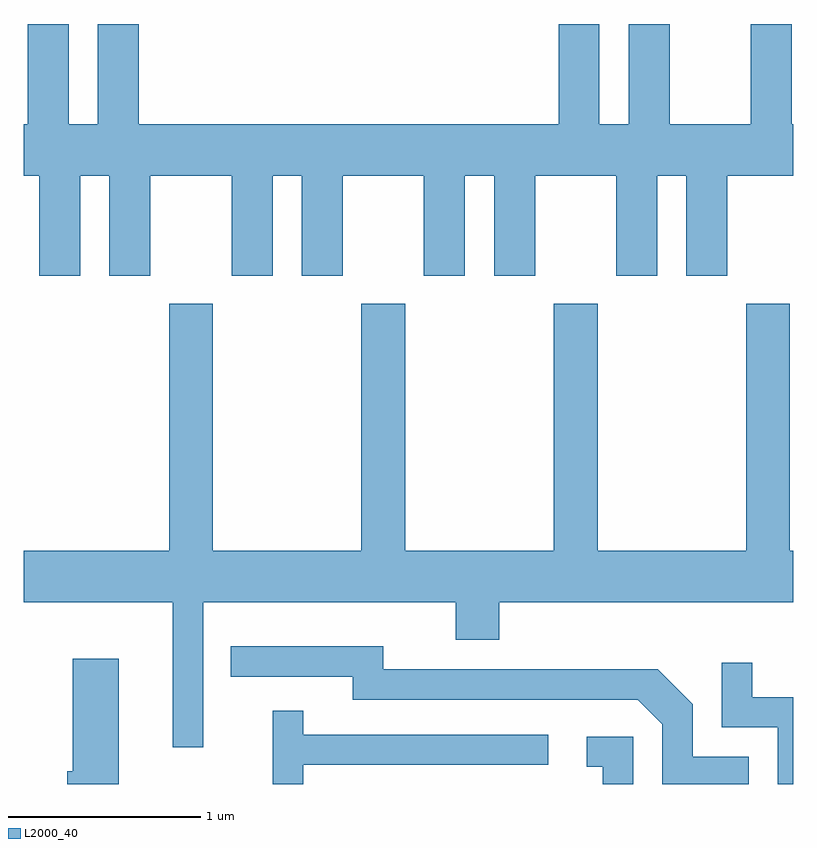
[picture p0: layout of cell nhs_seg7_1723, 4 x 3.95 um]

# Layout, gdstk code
import gdstk
lib = gdstk.Library(unit=1e-6, precision=1e-09)
def P(c, l, *ps):  # polygons
    for p in ps: c.add(gdstk.Polygon(p, *l))
L2000_40 = (2000, 40)

nhs_seg7_1723 = lib.new_cell('nhs_seg7_1723')
P(nhs_seg7_1723, L2000_40, [(237.904,1725.416),(238.056,1725.416),(238.056,1724.896),(238.269,1724.896),(238.269,1725.416),(238.691,1725.416),(238.691,1724.896),(238.904,1724.896),(238.904,1725.416),(239.056,1725.416),(239.056,1724.896),(239.269,1724.896),(239.269,1725.416),(239.691,1725.416),(239.691,1724.896),(239.904,1724.896),(239.904,1725.416),(240.056,1725.416),(240.056,1724.896),(240.269,1724.896),(240.269,1725.416),(240.691,1725.416),(240.691,1724.896),(240.904,1724.896),(240.904,1725.416),(241.056,1725.416),(241.056,1724.896),(241.269,1724.896),(241.269,1725.416),(241.611,1725.416),(241.611,1725.684),(241.604,1725.684),(241.604,1726.204),(241.391,1726.204),(241.391,1725.684),(240.969,1725.684),(240.969,1726.204),(240.756,1726.204),(240.756,1725.684),(240.604,1725.684),(240.604,1726.204),(240.391,1726.204),(240.391,1725.684),(238.209,1725.684),(238.209,1726.204),(237.996,1726.204),(237.996,1725.684),(237.844,1725.684),(237.844,1726.204),(237.631,1726.204),(237.631,1725.684),(237.611,1725.684),(237.611,1725.416),(237.691,1725.416),(237.691,1724.896),(237.904,1724.896)],
  [(238.544,1723.196),(239.856,1723.196),(239.856,1723.001),(240.084,1723.001),(240.084,1723.196),(241.611,1723.196),(241.611,1723.464),(241.594,1723.464),(241.594,1724.749),(241.366,1724.749),(241.366,1723.464),(240.594,1723.464),(240.594,1724.749),(240.366,1724.749),(240.366,1723.464),(239.594,1723.464),(239.594,1724.749),(239.366,1724.749),(239.366,1723.464),(238.594,1723.464),(238.594,1724.749),(238.366,1724.749),(238.366,1723.464),(237.611,1723.464),(237.611,1723.196),(238.386,1723.196),(238.386,1722.443),(238.544,1722.443)],
  [(241.379,1722.394),(241.089,1722.394),(241.089,1722.667),(240.907,1722.849),(239.479,1722.849),(239.479,1722.969),(238.688,1722.969),(238.688,1722.811),(239.321,1722.811),(239.321,1722.691),(240.804,1722.691),(240.931,1722.564),(240.931,1722.252),(241.379,1722.252)],
  [(238.104,1722.904),(237.866,1722.904),(237.866,1722.319),(237.836,1722.319),(237.836,1722.252),(238.104,1722.252)],
  [(241.611,1722.704),(241.399,1722.704),(241.399,1722.883),(241.241,1722.883),(241.241,1722.546),(241.531,1722.546),(241.531,1722.252),(241.611,1722.252)],
  [(239.064,1722.351),(240.338,1722.351),(240.338,1722.509),(239.064,1722.509),(239.064,1722.633),(238.906,1722.633),(238.906,1722.252),(239.064,1722.252)],
  [(240.779,1722.499),(240.538,1722.499),(240.538,1722.341),(240.621,1722.341),(240.621,1722.252),(240.779,1722.252)])

lib.write_gds('nhs_seg7_1723.gds')
